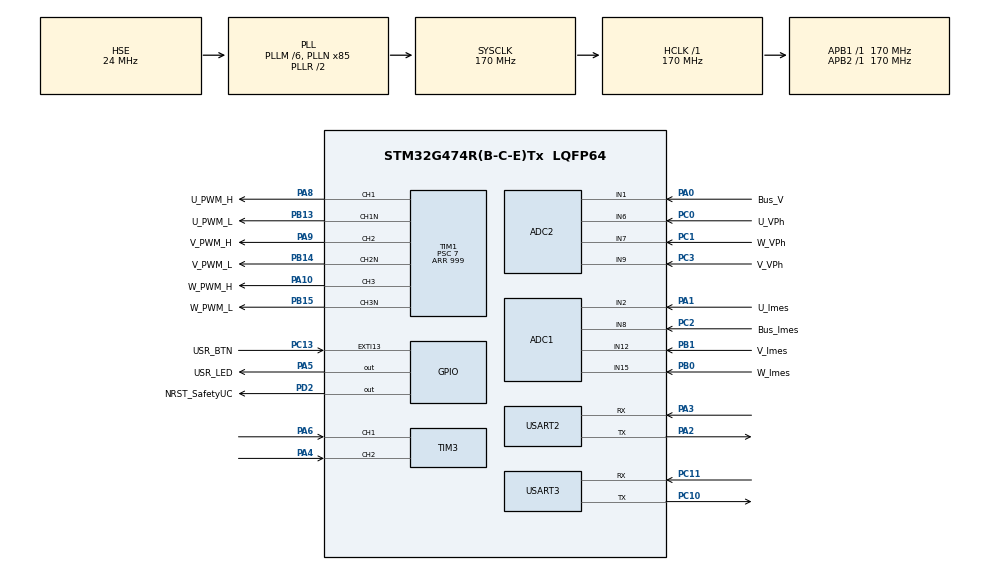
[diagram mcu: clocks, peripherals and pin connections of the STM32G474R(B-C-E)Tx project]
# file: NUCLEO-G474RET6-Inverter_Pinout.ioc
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ADC1.Channel-0\#ChannelRegularConversion=ADC_CHANNEL_8
ADC1.DMAContinuousRequests=ENABLE
ADC1.ExternalTrigConv=ADC_EXTERNALTRIG_T1_TRGO2
ADC1.NbrOfConversion=1
ADC1.NbrOfConversionFlag=1
ADC1.OffsetNumber-0\#ChannelRegularConversion=ADC_OFFSET_NONE
ADC1.Rank-0\#ChannelRegularConversion=1
ADC1.SamplingTime-0\#ChannelRegularConversion=ADC_SAMPLETIME_47CYCLES_5
ADC1.master=1
ADC2.Channel-0\#ChannelRegularConversion=ADC_CHANNEL_6
ADC2.NbrOfConversionFlag=1
ADC2.OffsetNumber-0\#ChannelRegularConversion=ADC_OFFSET_NONE
ADC2.Rank-0\#ChannelRegularConversion=1
ADC2.SamplingTime-0\#ChannelRegularConversion=ADC_SAMPLETIME_2CYCLES_5
Dma.ADC1.0.Direction=DMA_PERIPH_TO_MEMORY
Dma.ADC1.0.EventEnable=DISABLE
Dma.ADC1.0.Instance=DMA1_Channel1
Dma.ADC1.0.MemDataAlignment=DMA_MDATAALIGN_HALFWORD
Dma.ADC1.0.MemInc=DMA_MINC_ENABLE
Dma.ADC1.0.Mode=DMA_CIRCULAR
Dma.ADC1.0.PeriphDataAlignment=DMA_PDATAALIGN_HALFWORD
Dma.ADC1.0.PeriphInc=DMA_PINC_DISABLE
Dma.ADC1.0.Polarity=HAL_DMAMUX_REQ_GEN_RISING
Dma.ADC1.0.Priority=DMA_PRIORITY_LOW
Dma.ADC1.0.RequestNumber=1
Dma.ADC1.0.SignalID=NONE
Dma.ADC1.0.SyncEnable=DISABLE
Dma.ADC1.0.SyncPolarity=HAL_DMAMUX_SYNC_NO_EVENT
Dma.ADC1.0.SyncRequestNumber=1
Dma.ADC1.0.SyncSignalID=NONE
Dma.Request0=ADC1
Mcu.Family=STM32G4
Mcu.Name=STM32G474R(B-C-E)Tx
Mcu.Package=LQFP64
NVIC.DMA1_Channel1_IRQn=true\:0\:0\:false\:false\:true\:false\:true\:true
NVIC.EXTI15_10_IRQn=true\:0\:0\:false\:false\:true\:true\:true\:true
NVIC.PriorityGroup=NVIC_PRIORITYGROUP_4
NVIC.TIM6_DAC_IRQn=true\:15\:0\:false\:false\:true\:false\:true\:true
NVIC.TimeBase=TIM6_DAC_IRQn
NVIC.TimeBaseIP=TIM6
NVIC.USART2_IRQn=true\:0\:0\:false\:false\:true\:true\:true\:true
PA0.GPIO_Label=Bus_V
PA0.Mode=IN1-Single-Ended
PA0.Signal=ADC2_IN1
PA1.GPIO_Label=U_Imes
PA1.Mode=IN2-Single-Ended
PA1.Signal=ADC1_IN2
PA10.GPIO_Label=W_PWM_H
PA10.Signal=S_TIM1_CH3
PA13.GPIO_Label=T_SWDIO
PA13.Mode=Trace_Asynchronous_SW
PA13.Signal=SYS_JTMS-SWDIO
PA14.GPIO_Label=T_SWCLK
PA14.Mode=Trace_Asynchronous_SW
PA14.Signal=SYS_JTCK-SWCLK
PA2.Mode=Asynchronous
PA2.Signal=USART2_TX
PA3.Mode=Asynchronous
PA3.Signal=USART2_RX
PA4.Signal=S_TIM3_CH2
PA5.GPIO_Label=USR_LED
PA5.Signal=GPIO_Output
PA6.Signal=S_TIM3_CH1
PA8.GPIO_Label=U_PWM_H
PA8.Signal=S_TIM1_CH1
PA9.GPIO_Label=V_PWM_H
PA9.Signal=S_TIM1_CH2
PB0.GPIO_Label=W_Imes
PB0.Mode=IN15-Single-Ended
PB0.Signal=ADC1_IN15
PB1.GPIO_Label=V_Imes
PB1.Mode=IN12-Single-Ended
PB1.Signal=ADC1_IN12
PB13.GPIO_Label=U_PWM_L
PB13.Mode=PWM Generation1 CH1 CH1N
PB13.Signal=TIM1_CH1N
PB14.GPIO_Label=V_PWM_L
PB14.Mode=PWM Generation2 CH2 CH2N
PB14.Signal=TIM1_CH2N
PB15.GPIO_Label=W_PWM_L
PB15.Mode=PWM Generation3 CH3 CH3N
PB15.Signal=TIM1_CH3N
PB3.GPIO_Label=T_SWO
PB3.Mode=Trace_Asynchronous_SW
PB3.Signal=SYS_JTDO-SWO
PC0.GPIO_Label=U_VPh
PC0.Mode=IN6-Single-Ended
PC0.Signal=ADC2_IN6
PC1.GPIO_Label=W_VPh
PC1.Mode=IN7-Single-Ended
PC1.Signal=ADC2_IN7
PC10.Mode=Asynchronous
PC10.Signal=USART3_TX
PC11.Mode=Asynchronous
PC11.Signal=USART3_RX
PC13.GPIO_Label=USR_BTN
PC13.Signal=GPXTI13
PC14-OSC32_IN.Mode=LSE-External-Oscillator
PC14-OSC32_IN.Signal=RCC_OSC32_IN
PC15-OSC32_OUT.Mode=LSE-External-Oscillator
PC15-OSC32_OUT.Signal=RCC_OSC32_OUT
PC2.GPIO_Label=Bus_Imes
PC2.Mode=IN8-Single-Ended
PC2.Signal=ADC1_IN8
PC3.GPIO_Label=V_VPh
PC3.Mode=IN9-Single-Ended
PC3.Signal=ADC2_IN9
PC8.Signal=S_TIM3_CH3
PD2.GPIO_Label=NRST_SafetyUC
PD2.Signal=GPIO_Output
PF0-OSC_IN.Mode=HSE-External-Oscillator
PF0-OSC_IN.Signal=RCC_OSC_IN
PF1-OSC_OUT.Mode=HSE-External-Oscillator
PF1-OSC_OUT.Signal=RCC_OSC_OUT
ProjectManager.HeapSize=0x200
ProjectManager.StackSize=0x400
ProjectManager.TargetToolchain=STM32CubeIDE
RCC.ADC12Freq_Value=170000000
RCC.ADC345Freq_Value=170000000
RCC.AHBFreq_Value=170000000
RCC.APB1Freq_Value=170000000
RCC.APB1TimFreq_Value=170000000
RCC.APB2Freq_Value=170000000
RCC.APB2TimFreq_Value=170000000
RCC.CortexFreq_Value=170000000
RCC.EXTERNAL_CLOCK_VALUE=12288000
RCC.HCLKFreq_Value=170000000
RCC.HSE_VALUE=24000000
RCC.HSI48_VALUE=48000000
RCC.HSI_VALUE=16000000
RCC.PLLM=RCC_PLLM_DIV6
RCC.PLLN=85
RCC.PLLSourceVirtual=RCC_PLLSOURCE_HSE
RCC.RTCClockSelection=RCC_RTCCLKSOURCE_LSE
RCC.SYSCLKFreq_VALUE=170000000
RCC.SYSCLKSource=RCC_SYSCLKSOURCE_PLLCLK
RCC.USBFreq_Value=170000000
RCC.VCOOutputFreq_Value=340000000
SH.S_TIM1_CH1.0=TIM1_CH1,PWM Generation1 CH1 CH1N
SH.S_TIM1_CH2.0=TIM1_CH2,PWM Generation2 CH2 CH2N
SH.S_TIM1_CH3.0=TIM1_CH3,PWM Generation3 CH3 CH3N
SH.S_TIM3_CH1.0=TIM3_CH1,Encoder_Interface
SH.S_TIM3_CH2.0=TIM3_CH2,Encoder_Interface
SH.S_TIM3_CH3.0=TIM3_CH3
TIM1.Channel-PWM\ Generation1\ CH1\ CH1N=TIM_CHANNEL_1
TIM1.Channel-PWM\ Generation2\ CH2\ CH2N=TIM_CHANNEL_2
TIM1.Channel-PWM\ Generation3\ CH3\ CH3N=TIM_CHANNEL_3
TIM1.CounterMode=TIM_COUNTERMODE_CENTERALIGNED1
TIM1.DeadTime=44
TIM1.PeriodNoDither=999
TIM1.Prescaler=7
TIM1.PulseNoDither_1=400
TIM1.PulseNoDither_2=400
TIM1.TIM_MasterOutputTrigger=TIM_TRGO_RESET
TIM1.TIM_MasterOutputTrigger2=TIM_TRGO2_UPDATE
TIM1.TIM_MasterSlaveMode=TIM_MASTERSLAVEMODE_ENABLE
TIM3.EncoderMode=TIM_ENCODERMODE_TI12
USART2.VirtualMode-Asynchronous=VM_ASYNC
USART3.VirtualMode-Asynchronous=VM_ASYNC
VP_SYS_VS_DBSignals.Mode=DisableDeadBatterySignals
VP_SYS_VS_tim6.Mode=TIM6
board=NUCLEO-G474RE

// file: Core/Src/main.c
/* USER CODE BEGIN Header */
/**
  ******************************************************************************
  * @file           : main.c
  * @brief          : Main program body
  ******************************************************************************
  * @attention
  *
  * Copyright (c) 2023 STMicroelectronics.
  * All rights reserved.
  *
  * This software is licensed under terms that can be found in the LICENSE file
  * in the root directory of this software component.
  * If no LICENSE file comes with this software, it is provided AS-IS.
  *
  ******************************************************************************
  * \file main.c
  * \brief fichier principal
  * \author Colin L, Lucas G
  * \version 1
  * \date 20 octobre 2023
  */
/* USER CODE END Header */
#include "main.h"
#include "adc.h"
#include "dma.h"
#include "tim.h"
#include "usart.h"
#include "gpio.h"

/* USER CODE BEGIN Includes */
#include <string.h>
#include "shell.h"
#include "motor.h"
#include "adc_mes.h"
/* USER CODE END Includes */

/* USER CODE BEGIN PV */
int it_uart = 0;
extern char buffer_cmd[];
extern uint8_t started[];
extern uint8_t newLine[];

/*const uint8_t prompt[];*/

uint32_t uartRxReceived;
uint8_t uartRxBuffer[UART_RX_BUFFER_SIZE];
uint8_t uartTxBuffer[UART_TX_BUFFER_SIZE];

/* USER CODE END PV */

void SystemClock_Config(void);
/* USER CODE BEGIN PFP */
void HAL_UART_RxCpltCallback(UART_HandleTypeDef *huart);
void HAL_ADC_ConvCpltCallback(ADC_HandleTypeDef *hadc);
/* USER CODE END PFP */

int main(void)
{

  /* MCU Configuration--------------------------------------------------------*/

  /* Reset of all peripherals, Initializes the Flash interface and the Systick. */
  HAL_Init();

  /* Configure the system clock */
  SystemClock_Config();

  /* Initialize all configured peripherals */
  MX_GPIO_Init();
  MX_DMA_Init();
  MX_ADC2_Init();
  MX_ADC1_Init();
  MX_TIM1_Init();
  MX_TIM3_Init();
  MX_USART2_UART_Init();
  MX_USART3_UART_Init();
  /* USER CODE BEGIN 2 */
  // Affiche le message de bienvenue
  HAL_UART_Transmit(&huart2, started, 31, HAL_MAX_DELAY);
  HAL_UART_Transmit(&huart2, newLine, 5, HAL_MAX_DELAY);

  HAL_UART_Receive_IT(&huart2, buffer_cmd, 1);
  Adc_init();
  HAL_TIM_Encoder_Start(&htim3, TIM_CHANNEL_ALL);
  /* USER CODE END 2 */

  /* Infinite loop */
  while (1)
  {

    /* USER CODE BEGIN 3 */
	  // Affiche les commandes entrées par l'utilisateur sur le shell
	  if (it_uart == 1){ // Permet d'afficher chaque caractère une seule fois
		  UART_Echo();
		  UART_Create_Cmd();
		  it_uart = 0;
	  }
  }
  /* USER CODE END 3 */
}

void SystemClock_Config(void)
{
  RCC_OscInitTypeDef RCC_OscInitStruct = {0};
  RCC_ClkInitTypeDef RCC_ClkInitStruct = {0};

  /** Configure the main internal regulator output voltage
  */
  HAL_PWREx_ControlVoltageScaling(PWR_REGULATOR_VOLTAGE_SCALE1_BOOST);

  /** Initializes the RCC Oscillators according to the specified parameters
  * in the RCC_OscInitTypeDef structure.
  */
  RCC_OscInitStruct.OscillatorType = RCC_OSCILLATORTYPE_HSE;
  RCC_OscInitStruct.HSEState = RCC_HSE_ON;
  RCC_OscInitStruct.PLL.PLLState = RCC_PLL_ON;
  RCC_OscInitStruct.PLL.PLLSource = RCC_PLLSOURCE_HSE;
  RCC_OscInitStruct.PLL.PLLM = RCC_PLLM_DIV6;
  RCC_OscInitStruct.PLL.PLLN = 85;
  RCC_OscInitStruct.PLL.PLLP = RCC_PLLP_DIV2;
  RCC_OscInitStruct.PLL.PLLQ = RCC_PLLQ_DIV2;
  RCC_OscInitStruct.PLL.PLLR = RCC_PLLR_DIV2;
  if (HAL_RCC_OscConfig(&RCC_OscInitStruct) != HAL_OK)
  {
    Error_Handler();
  }

  /** Initializes the CPU, AHB and APB buses clocks
  */
  RCC_ClkInitStruct.ClockType = RCC_CLOCKTYPE_HCLK|RCC_CLOCKTYPE_SYSCLK
                              |RCC_CLOCKTYPE_PCLK1|RCC_CLOCKTYPE_PCLK2;
  RCC_ClkInitStruct.SYSCLKSource = RCC_SYSCLKSOURCE_PLLCLK;
  RCC_ClkInitStruct.AHBCLKDivider = RCC_SYSCLK_DIV1;
  RCC_ClkInitStruct.APB1CLKDivider = RCC_HCLK_DIV1;
  RCC_ClkInitStruct.APB2CLKDivider = RCC_HCLK_DIV1;

  if (HAL_RCC_ClockConfig(&RCC_ClkInitStruct, FLASH_LATENCY_4) != HAL_OK)
  {
    Error_Handler();
  }
}

/* USER CODE BEGIN 4 */
/**
 * \fn void HAL_UART_RxCpltCallback(UART_HandleTypeDef *huart)
 * \brief Attend qu'un caractère soit entré par l'utilisateur et renvoie vers la fonction d'echo dans la boucle du main
 *
 * \param *huart
 * \return void
 */
void HAL_UART_RxCpltCallback(UART_HandleTypeDef *huart){
	it_uart = 1;
	HAL_UART_Receive_IT(&huart2, buffer_cmd, 1);
}

/**
 * \fn void HAL_ADC_ConvCpltCallback(ADC_HandleTypeDef *hadc)
 * \brief Fonction d'asservissement du courant
 *
 * \param *adc
 * \return void
 */
void HAL_ADC_ConvCpltCallback(ADC_HandleTypeDef *hadc){
	// L'asservissement du courant aurait du être fait ici
}

/* USER CODE END 4 */

void HAL_TIM_PeriodElapsedCallback(TIM_HandleTypeDef *htim)
{
  if (htim->Instance == TIM6) {
    HAL_IncTick();
  }
}

void Error_Handler(void)
{
  __disable_irq();
  while (1)
  {
  }
}
